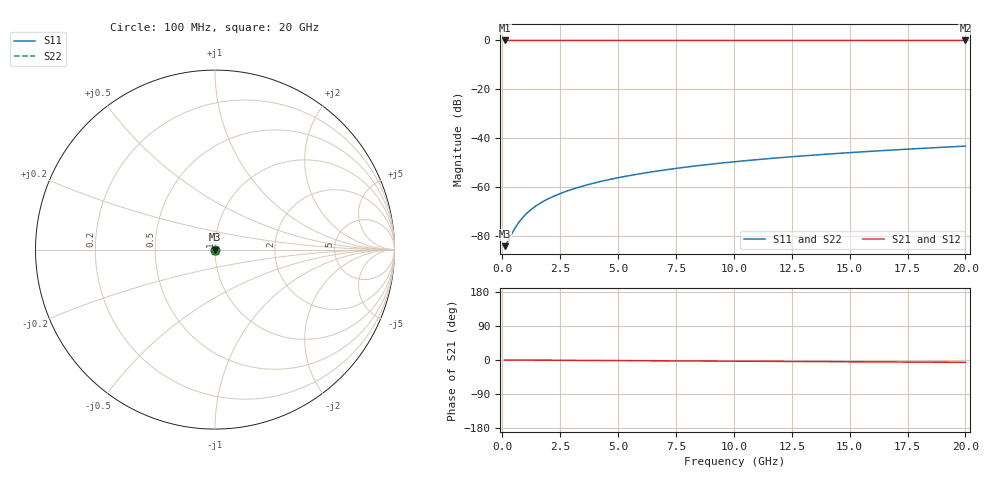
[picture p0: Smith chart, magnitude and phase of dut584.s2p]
! Touchstone file exported from HFSS 2026.1.0
!  File:  C:/ffzhzh/LocalFiles/Ansys_Project_Files/temp_train_TSV_584_1783025069_55676.aedt
!  Generated:  04:46:12 AM Jul  3, 2026
!  Design:  TSV
!  Project:  temp_train_TSV_584_1783025069_55676
! Variables:
!  h_bsmrdl = 2um
!  h_ox = 20um
!  h_rdl = 5um
!  h_sub = 57.48um
!  h_tmrdl = 5um
!  h_tsv = 57.48um
!  h_via = 3um
!  l_bsmrdl = 300um
!  l_sub = 428.52um
!  l_tmrdl = 200um
!  m_sub = 200um
!  pitch = 52.85um
!  r_tsv = 14.26um
!  s_tmrdl = 10um
!  w_bsmrdl = 18um
!  w_sub = 500um
!  w_tmrdl = 12um
!  x_tsv_center1 = 206um
!  x_tsv_center2 = 524um
!  x_tsv_center3 = 736um
!  x_tsv_center4 = 1054um
!  x_tsv_center5 = 1266um
!  x_tsv_center6 = 1584um
# GHz S MA R 50.000000
! Terminal data exported
! Port[1] = TSV1_1_T1
! Port[2] = TSV1_1_T2
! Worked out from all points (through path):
!   200 points, 100 MHz to 20 GHz, reference 50 ohm
!   highest |S21| = 0.00 dB at 100 MHz (marker M1); lowest = 0.0 dB at 20 GHz (marker M2)
!   lowest |S11| = -84.2 dB at 100 MHz (marker M3), VSWR 1.00, Z = 50 - j0.000348 ohm
!   |S11| at or under -10 dB: start of sweep to end of sweep
!   |S22| runs from -84.2 to -43.3 dB; largest |S21 - S12| = 6e-15
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0.1  6.144e-05 -3.2  0.9999 -0.0  0.9999 -0.0  6.144e-05 -3.2
! Gamma 0 0 0 0
! Port Impedance 50 0 50 0
0.3  8.763e-05 -13.2  0.9999 -0.1  0.9999 -0.1  8.763e-05 -13.2
0.4  0.0001079 -19.2  0.9999 -0.1  0.9999 -0.1  0.0001079 -19.2
0.6  0.0001573 -30.4  0.9999 -0.2  0.9999 -0.2  0.0001573 -30.4
0.7  0.0001847 -35.2  0.9998 -0.2  0.9998 -0.2  0.0001847 -35.2
0.9  0.0002424 -43.2  0.9998 -0.3  0.9998 -0.3  0.0002424 -43.2
1.2  0.0003323 -51.9  0.9998 -0.4  0.9998 -0.4  0.0003323 -51.9
1.4  0.0003932 -56.1  0.9998 -0.4  0.9998 -0.4  0.0003932 -56.1
1.6  0.0004544 -59.5  0.9998 -0.5  0.9998 -0.5  0.0004544 -59.5
2  0.0005779 -64.4  0.9997 -0.6  0.9997 -0.6  0.0005779 -64.4
2.4  0.0007025 -67.7  0.9997 -0.7  0.9997 -0.7  0.0007025 -67.7
2.9  0.0008602 -70.7  0.9997 -0.9  0.9997 -0.9  0.0008602 -70.7
3.5  0.001052 -73.2  0.9997 -1.1  0.9997 -1.1  0.001052 -73.2
4.2  0.001281 -75.3  0.9996 -1.3  0.9996 -1.3  0.001281 -75.3
5  0.001547 -77.1  0.9996 -1.6  0.9996 -1.6  0.001547 -77.1
5.9  0.001852 -78.7  0.9996 -1.8  0.9996 -1.8  0.001852 -78.7
6.8  0.00216 -80.0  0.9995 -2.1  0.9995 -2.1  0.00216 -80.0
8.3  0.002681 -81.8  0.9995 -2.6  0.9995 -2.6  0.002681 -81.8
10.1  0.003313 -83.5  0.9994 -3.1  0.9994 -3.1  0.003313 -83.5
13.4  0.004482 -86.0  0.9994 -4.1  0.9994 -4.1  0.004482 -86.0
16.7  0.005666 -88.0  0.9993 -5.1  0.9993 -5.1  0.005666 -88.0
20  0.006867 -89.6  0.9992 -6.2  0.9992 -6.2  0.006867 -89.6
